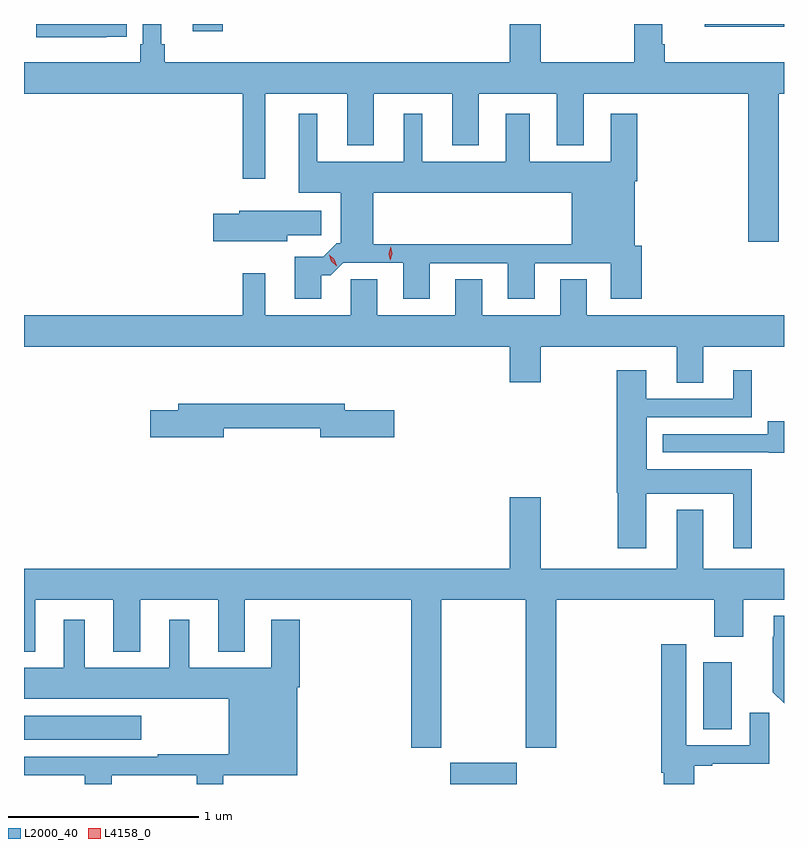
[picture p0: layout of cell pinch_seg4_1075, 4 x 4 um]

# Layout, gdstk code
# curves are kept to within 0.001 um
import gdstk
lib = gdstk.Library(unit=1e-6, precision=1e-09)
def R(c, l, rs):  # rectangles x0, y0, x1, y1
    for r in rs: c.add(gdstk.rectangle(r[:2], r[2:], *l))
def P(c, l, *ps):  # polygons
    for p in ps: c.add(gdstk.Polygon(p, *l))
L2000_40 = (2000, 40)
L4158_0 = (4158, 0)

pinch_seg4_1075 = lib.new_cell('pinch_seg4_1075')
R(pinch_seg4_1075, L2000_40, [(548.312,798.514,548.662,798.625), (546.068,798.746,546.685,798.874), (549.644,798.802,549.793,799.156), (546.956,802.476,547.115,802.514), (549.652,802.499,550.068,802.514)])
P(pinch_seg4_1075, L2000_40, [(548.624,802.514),(548.624,802.312),(546.809,802.312),(546.809,802.408),(546.79,802.408),(546.79,802.514),(546.693,802.514),(546.693,802.408),(546.68,802.408),(546.68,802.312),(546.068,802.312),(546.068,802.148),(547.218,802.148),(547.218,801.699),(547.339,801.699),(547.339,802.148),(547.769,802.148),(547.769,801.875),(547.909,801.875),(547.909,802.148),(548.321,802.148),(548.321,801.875),(548.461,801.875),(548.461,802.148),(548.873,802.148),(548.873,801.875),(549.013,801.875),(549.013,802.148),(549.881,802.148),(549.881,801.369),(550.041,801.369),(550.041,802.148),(550.068,802.148),(550.068,802.312),(549.44,802.312),(549.44,802.408),(549.427,802.408),(549.427,802.514),(549.28,802.514),(549.28,802.312),(548.788,802.312),(548.788,802.514)],
  [(546.5,802.446),(546.608,802.446),(546.608,802.514),(546.132,802.514),(546.132,802.445),(546.5,802.445)],
  [(547.493,801.289),(547.493,801.069),(547.633,801.069),(547.633,801.191),(547.682,801.191),(547.749,801.258),(548.063,801.258),(548.063,801.069),(548.203,801.069),(548.203,801.255),(548.615,801.255),(548.615,801.069),(548.755,801.069),(548.755,801.255),(549.155,801.255),(549.155,801.069),(549.32,801.069),(549.32,801.348),(549.283,801.348),(549.283,801.686),(549.296,801.686),(549.296,802.042),(549.155,802.042),(549.155,801.79),(548.731,801.79),(548.731,802.042),(548.603,802.042),(548.603,801.79),(548.164,801.79),(548.164,802.042),(548.066,802.042),(548.066,801.79),(547.612,801.79),(547.612,802.042),(547.514,802.042),(547.514,801.626),(547.736,801.626),(547.736,801.359),(547.712,801.359),(547.709,801.356),(547.907,801.356),(547.907,801.626),(548.951,801.626),(548.951,801.356),(547.709,801.356),(547.642,801.289)],
  [(547.453,801.403),(547.633,801.403),(547.633,801.532),(547.202,801.532),(547.202,801.515),(547.065,801.515),(547.065,801.371),(547.453,801.371)],
  [(549.643,800.816),(550.068,800.816),(550.068,800.98),(549.031,800.98),(549.031,801.17),(548.891,801.17),(548.891,800.98),(548.479,800.98),(548.479,801.17),(548.339,801.17),(548.339,800.98),(547.927,800.98),(547.927,801.17),(547.788,801.17),(547.788,800.98),(547.339,800.98),(547.339,801.202),(547.218,801.202),(547.218,800.98),(546.068,800.98),(546.068,800.816),(548.624,800.816),(548.624,800.628),(548.788,800.628),(548.788,800.816),(549.503,800.816),(549.503,800.626),(549.643,800.626)],
  [(549.343,800.042),(549.8,800.042),(549.8,799.755),(549.898,799.755),(549.898,800.17),(549.346,800.17),(549.346,800.445),(549.898,800.445),(549.898,800.692),(549.8,800.692),(549.8,800.541),(549.343,800.541),(549.343,800.692),(549.188,800.692),(549.188,800.046),(549.193,800.046),(549.193,799.755),(549.343,799.755)],
  [(547.12,800.386),(547.628,800.386),(547.628,800.339),(548.017,800.339),(548.017,800.481),(547.756,800.481),(547.756,800.515),(546.881,800.515),(546.881,800.481),(546.732,800.481),(546.732,800.339),(547.12,800.339)],
  [(550.068,800.422),(549.983,800.422),(549.983,800.355),(549.431,800.355),(549.431,800.259),(549.987,800.259),(549.987,800.258),(550.068,800.258)],
  [(548.265,799.484),(548.71,799.484),(548.71,798.705),(548.87,798.705),(548.87,799.484),(549.701,799.484),(549.701,799.29),(549.853,799.29),(549.853,799.484),(550.068,799.484),(550.068,799.648),(549.643,799.648),(549.643,799.957),(549.503,799.957),(549.503,799.648),(548.788,799.648),(548.788,800.023),(548.624,800.023),(548.624,799.648),(546.068,799.648),(546.068,799.211),(546.127,799.211),(546.127,799.484),(546.539,799.484),(546.539,799.211),(546.679,799.211),(546.679,799.484),(547.091,799.484),(547.091,799.211),(547.231,799.211),(547.231,799.484),(548.105,799.484),(548.105,798.705),(548.265,798.705)],
  [(550.068,799.399),(550.013,799.399),(550.013,799.289),(550.009,799.289),(550.009,798.998),(550.068,798.939)],
  [(546.529,798.561),(546.977,798.561),(546.977,798.514),(547.117,798.514),(547.117,798.56),(547.507,798.56),(547.507,799.022),(547.52,799.022),(547.52,799.378),(547.37,799.378),(547.37,799.126),(546.937,799.126),(546.937,799.378),(546.833,799.378),(546.833,799.126),(546.388,799.126),(546.388,799.378),(546.278,799.378),(546.278,799.126),(546.068,799.126),(546.068,798.962),(547.145,798.962),(547.145,798.67),(546.772,798.67),(546.772,798.657),(546.068,798.657),(546.068,798.561),(546.389,798.561),(546.389,798.514),(546.529,798.514)],
  [(549.595,798.609),(549.691,798.609),(549.691,798.621),(549.991,798.621),(549.991,798.889),(549.887,798.889),(549.887,798.717),(549.553,798.717),(549.553,799.249),(549.422,799.249),(549.422,798.574),(549.434,798.574),(549.434,798.514),(549.595,798.514)])
P(pinch_seg4_1075, L4158_0, [(547.996,801.27),(547.996,801.27),(547.987,801.306),(547.998,801.341),(547.999,801.341),(547.999,801.341),(548.007,801.305),(547.996,801.27)],
  [(547.712,801.242),(547.685,801.265),(547.675,801.3),(547.675,801.3),(547.675,801.3),(547.702,801.276),(547.713,801.242),(547.713,801.242)])

lib.write_gds('pinch_seg4_1075.gds')
